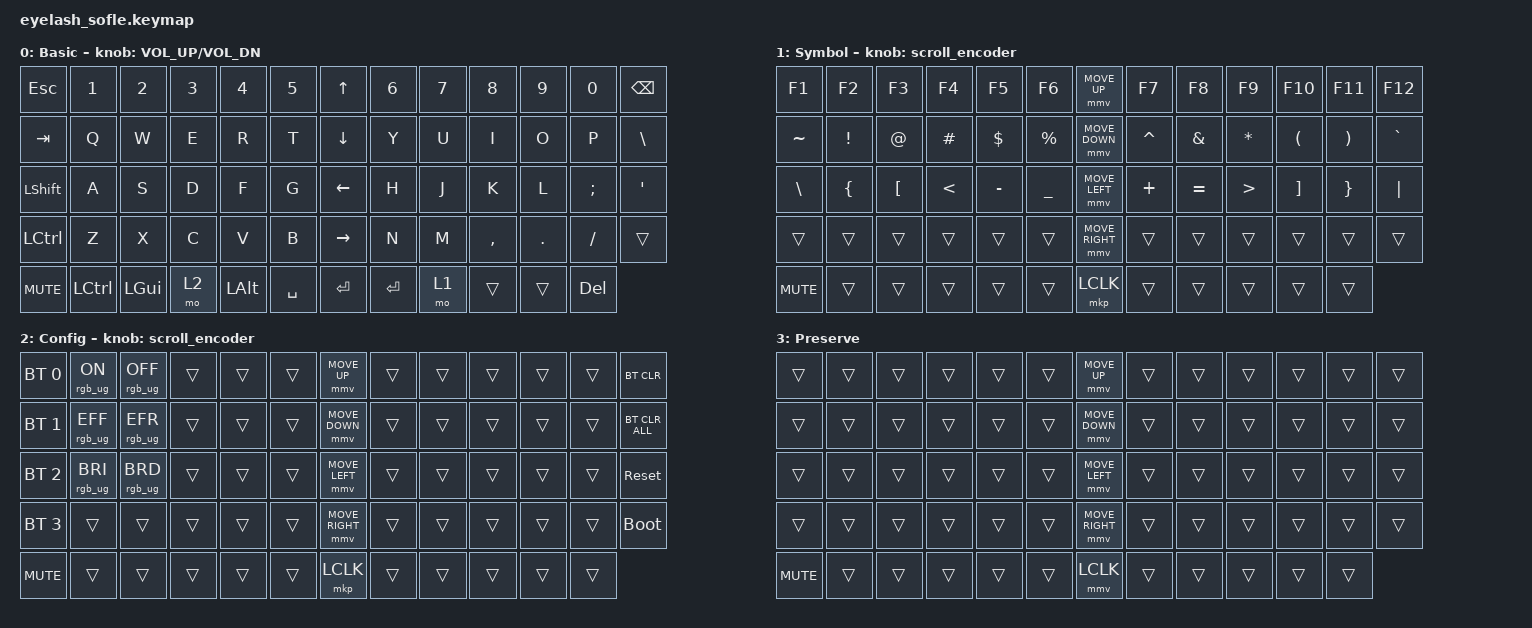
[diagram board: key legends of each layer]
#define ZMK_POINTING_DEFAULT_MOVE_VAL 1200  // 600
#define ZMK_POINTING_DEFAULT_SCRL_VAL 35    // 10

#include <input/processors.dtsi>
#include <zephyr/dt-bindings/input/input-event-codes.h>
#include <behaviors.dtsi>
#include <dt-bindings/zmk/bt.h>
#include <dt-bindings/zmk/keys.h>
#include <dt-bindings/zmk/pointing.h>
#include <dt-bindings/zmk/rgb.h>

/ {
    zip_scroll_scaler: zip_scroll_scaler {
        compatible = "zmk,input-processor-scaler";
        #input-processor-cells = <2>;
        type = <INPUT_EV_REL>;
        codes = <INPUT_REL_WHEEL INPUT_REL_HWHEEL>;
        track-remainders;
    };
};

&mmv_input_listener { input-processors = <&zip_xy_scaler 2 1>; };

&msc_input_listener { input-processors = <&zip_scroll_scaler 2 1>; };

&msc {
    acceleration-exponent = <0>;      // 0
    time-to-max-speed-ms = <0>;       // 300
    delay-ms = <0>;                   // 0
};

&mmv {
    time-to-max-speed-ms = <400>;
    acceleration-exponent = <1>;
};

/ {
    scroll_encoder: scroll_encoder {
        compatible = "zmk,behavior-sensor-rotate";
        #sensor-binding-cells = <0>;
        bindings = <&msc SCRL_DOWN>, <&msc SCRL_UP>;

        tap-ms = <30>;
    };

    behaviors {
    };

    keymap {
        compatible = "zmk,keymap";

        layer0 {
            bindings = <
&kp ESC     &kp N1     &kp N2        &kp N3  &kp N4        &kp N5       &kp UP_ARROW     &kp N6     &kp N7  &kp N8     &kp N9   &kp N0    &kp BACKSPACE
&kp TAB     &kp Q      &kp W         &kp E   &kp R         &kp T        &kp DOWN_ARROW   &kp Y      &kp U   &kp I      &kp O    &kp P     &kp BSLH
&kp LSHIFT  &kp A      &kp S         &kp D   &kp F         &kp G        &kp LEFT_ARROW   &kp H      &kp J   &kp K      &kp L    &kp SEMI  &kp APOS
&kp LCTRL   &kp Z      &kp X         &kp C   &kp V         &kp B        &kp RIGHT_ARROW  &kp N      &kp M   &kp COMMA  &kp DOT  &kp FSLH  &trans
&kp C_MUTE  &kp LCTRL  &kp LEFT_GUI  &mo 2   &kp LEFT_ALT  &kp SPACE    &kp ENTER        &kp ENTER  &mo 1   &trans     &trans   &kp DEL
            >;

            sensor-bindings = <&inc_dec_kp C_VOLUME_UP C_VOL_DN>;
            display-name = "Basic";
        };

        layer_1 {
            bindings = <
&kp F1      &kp F2    &kp F3    &kp F4    &kp F5     &kp F6       &mmv MOVE_UP     &kp F7     &kp F8     &kp F9     &kp F10   &kp F11   &kp F12
&kp TILDE   &kp EXCL  &kp AT    &kp HASH  &kp DLLR   &kp PRCNT    &mmv MOVE_DOWN   &kp CARET  &kp AMPS   &kp ASTRK  &kp LPAR  &kp RPAR  &kp GRAVE
&kp BSLH    &kp LBRC  &kp LBKT  &kp LT    &kp MINUS  &kp UNDER    &mmv MOVE_LEFT   &kp PLUS   &kp EQUAL  &kp GT     &kp RBKT  &kp RBRC  &kp PIPE
&trans      &trans    &trans    &trans    &trans     &trans       &mmv MOVE_RIGHT  &trans     &trans     &trans     &trans    &trans    &trans
&kp C_MUTE  &trans    &trans    &trans    &trans     &trans       &mkp LCLK        &trans     &trans     &trans     &trans    &trans
            >;

            display-name = "Symbol";
            sensor-bindings = <&scroll_encoder>;
        };

        layer_2 {
            bindings = <
&bt BT_SEL 0  &rgb_ug RGB_ON   &rgb_ug RGB_OFF  &trans  &trans  &trans    &mmv MOVE_UP     &trans  &trans  &trans  &trans  &trans  &bt BT_CLR
&bt BT_SEL 1  &rgb_ug RGB_EFF  &rgb_ug RGB_EFR  &trans  &trans  &trans    &mmv MOVE_DOWN   &trans  &trans  &trans  &trans  &trans  &bt BT_CLR_ALL
&bt BT_SEL 2  &rgb_ug RGB_BRI  &rgb_ug RGB_BRD  &trans  &trans  &trans    &mmv MOVE_LEFT   &trans  &trans  &trans  &trans  &trans  &sys_reset
&bt BT_SEL 3  &trans           &trans           &trans  &trans  &trans    &mmv MOVE_RIGHT  &trans  &trans  &trans  &trans  &trans  &bootloader
&kp C_MUTE    &trans           &trans           &trans  &trans  &trans    &mkp LCLK        &trans  &trans  &trans  &trans  &trans
            >;

            display-name = "Config";
            sensor-bindings = <&scroll_encoder>;
        };

        layer_3 {
            bindings = <
&trans      &trans  &trans  &trans  &trans  &trans    &mmv MOVE_UP     &trans  &trans  &trans  &trans  &trans  &trans
&trans      &trans  &trans  &trans  &trans  &trans    &mmv MOVE_DOWN   &trans  &trans  &trans  &trans  &trans  &trans
&trans      &trans  &trans  &trans  &trans  &trans    &mmv MOVE_LEFT   &trans  &trans  &trans  &trans  &trans  &trans
&trans      &trans  &trans  &trans  &trans  &trans    &mmv MOVE_RIGHT  &trans  &trans  &trans  &trans  &trans  &trans
&kp C_MUTE  &trans  &trans  &trans  &trans  &trans    &mmv LCLK        &trans  &trans  &trans  &trans  &trans
            >;

            display-name = "Preserve";
        };
    };
};
